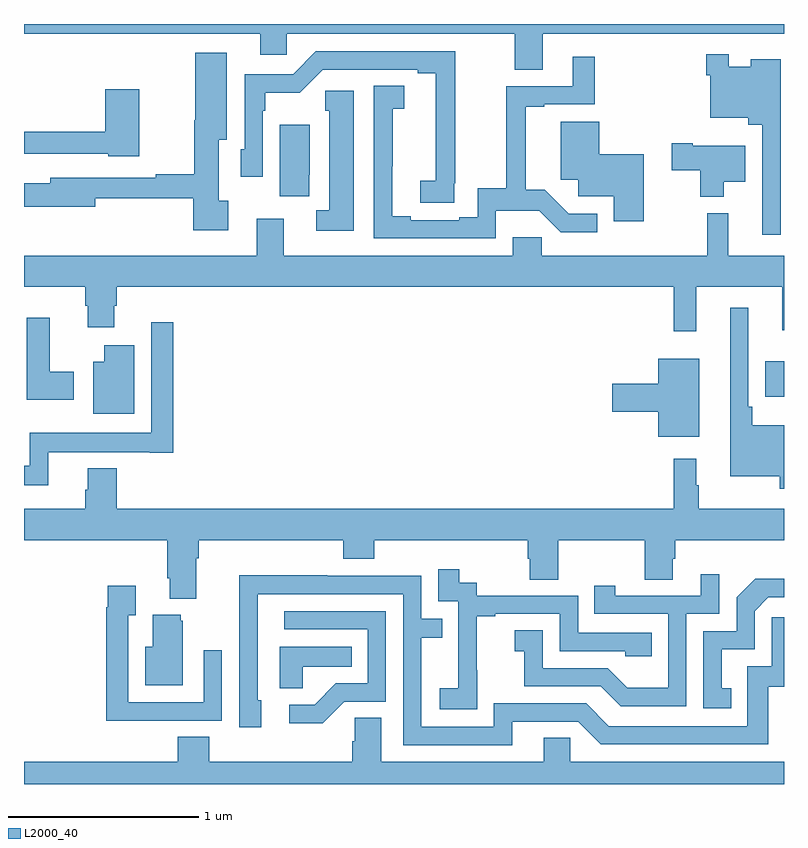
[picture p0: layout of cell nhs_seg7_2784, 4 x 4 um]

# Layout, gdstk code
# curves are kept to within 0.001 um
import gdstk
lib = gdstk.Library(unit=1e-6, precision=1e-09)
def R(c, l, rs):  # rectangles x0, y0, x1, y1
    for r in rs: c.add(gdstk.rectangle(r[:2], r[2:], *l))
def P(c, l, *ps):  # polygons
    for p in ps: c.add(gdstk.Polygon(p, *l))
L2000_40 = (2000, 40)

nhs_seg7_2784 = lib.new_cell('nhs_seg7_2784')
R(nhs_seg7_2784, L2000_40, [(294.902,1000.037,295,1000.225)])
P(nhs_seg7_2784, L2000_40, [(293.731,1001.948),(295,1001.948),(295,1002),(291,1002),(291,1001.948),(292.244,1001.948),(292.244,1001.838),(292.383,1001.838),(292.383,1001.948),(293.584,1001.948),(293.584,1001.758),(293.731,1001.758)],
  [(293.264,1001.161),(293.27,1001.161),(293.27,1001.856),(292.536,1001.856),(292.416,1001.736),(292.161,1001.736),(292.161,1001.34),(292.14,1001.34),(292.14,1001.196),(292.257,1001.196),(292.257,1001.543),(292.27,1001.543),(292.27,1001.639),(292.451,1001.639),(292.572,1001.76),(293.072,1001.76),(293.072,1001.74),(293.168,1001.74),(293.167,1001.174),(293.085,1001.174),(293.085,1001.059),(293.264,1001.059)],
  [(292.075,1001.07),(292.024,1001.07),(292.024,1001.39),(292.066,1001.39),(292.066,1001.848),(291.902,1001.848),(291.902,1001.494),(291.895,1001.494),(291.895,1001.21),(291.694,1001.21),(291.694,1001.19),(291.137,1001.19),(291.137,1001.161),(291,1001.161),(291,1001.039),(291.376,1001.039),(291.376,1001.082),(291.89,1001.082),(291.89,1000.914),(292.075,1000.914)],
  [(294.982,1001.815),(294.824,1001.815),(294.824,1001.776),(294.708,1001.776),(294.708,1001.842),(294.592,1001.842),(294.592,1001.729),(294.612,1001.729),(294.612,1001.507),(294.812,1001.507),(294.812,1001.471),(294.885,1001.471),(294.885,1000.89),(294.982,1000.89)],
  [(293.484,1001.018),(293.713,1001.018),(293.826,1000.905),(294.016,1000.905),(294.016,1001.001),(293.868,1001.001),(293.741,1001.128),(293.642,1001.128),(293.642,1001.565),(293.737,1001.565),(293.737,1001.577),(294.005,1001.577),(294.005,1001.827),(293.888,1001.827),(293.888,1001.673),(293.539,1001.673),(293.539,1001.135),(293.388,1001.135),(293.388,1000.982),(293.291,1000.982),(293.291,1000.968),(293.035,1000.968),(293.035,1000.988),(292.939,1000.988),(292.939,1001.251),(292.941,1001.251),(292.941,1001.555),(293.002,1001.555),(293.002,1001.675),(292.842,1001.675),(292.842,1000.872),(293.484,1000.872)],
  [(291.606,1001.656),(291.428,1001.656),(291.428,1001.432),(291,1001.432),(291,1001.316),(291.444,1001.316),(291.444,1001.303),(291.606,1001.303)],
  [(292.735,1001.65),(292.585,1001.65),(292.585,1001.544),(292.607,1001.544),(292.607,1001.021),(292.539,1001.021),(292.539,1000.913),(292.735,1000.913)],
  [(294.262,1001.314),(294.028,1001.314),(294.028,1001.485),(293.825,1001.485),(293.825,1001.18),(293.916,1001.18),(293.916,1001.094),(294.104,1001.094),(294.104,1000.962),(294.262,1000.962)],
  [(292.502,1001.206),(292.504,1001.206),(292.504,1001.47),(292.346,1001.47),(292.346,1001.094),(292.502,1001.094)],
  [(294.682,1001.171),(294.796,1001.171),(294.796,1001.359),(294.52,1001.359),(294.52,1001.372),(294.408,1001.372),(294.408,1001.23),(294.56,1001.23),(294.56,1001.09),(294.682,1001.09)],
  [(294.539,1000.616),(294.992,1000.616),(294.992,1000.388),(295,1000.388),(295,1000.78),(294.707,1000.78),(294.707,1001.005),(294.597,1001.005),(294.597,1000.78),(293.725,1000.78),(293.725,1000.878),(293.573,1000.878),(293.573,1000.78),(292.366,1000.78),(292.366,1000.975),(292.226,1000.975),(292.226,1000.78),(291,1000.78),(291,1000.616),(291.323,1000.616),(291.323,1000.518),(291.335,1000.518),(291.335,1000.404),(291.475,1000.404),(291.475,1000.518),(291.488,1000.518),(291.488,1000.616),(294.421,1000.616),(294.421,1000.383),(294.539,1000.383)],
  [(295,999.889),(294.833,999.889),(294.833,999.985),(294.813,999.985),(294.813,1000.507),(294.716,1000.507),(294.716,999.62),(294.978,999.62),(294.978,999.555),(295,999.555)],
  [(291.262,1000.17),(291.136,1000.17),(291.136,1000.453),(291.014,1000.453),(291.014,1000.022),(291.262,1000.022)],
  [(291.128,999.746),(291.662,999.746),(291.662,999.744),(291.785,999.744),(291.785,1000.429),(291.669,1000.429),(291.669,999.85),(291.03,999.85),(291.03,999.676),(291,999.676),(291,999.572),(291.128,999.572)],
  [(291.58,1000.309),(291.422,1000.309),(291.422,1000.222),(291.365,1000.222),(291.365,999.95),(291.58,999.95)],
  [(294.553,1000.237),(294.338,1000.237),(294.338,1000.106),(294.096,1000.106),(294.096,999.959),(294.338,999.959),(294.338,999.827),(294.553,999.827)],
  [(291.907,999.188),(291.92,999.188),(291.92,999.284),(292.679,999.284),(292.679,999.185),(292.844,999.185),(292.844,999.284),(293.651,999.284),(293.651,999.186),(293.663,999.186),(293.663,999.076),(293.811,999.076),(293.811,999.284),(294.268,999.284),(294.268,999.076),(294.415,999.076),(294.415,999.186),(294.428,999.186),(294.428,999.284),(295,999.284),(295,999.448),(294.55,999.448),(294.55,999.572),(294.538,999.572),(294.538,999.712),(294.421,999.712),(294.421,999.448),(291.488,999.448),(291.488,999.661),(291.335,999.661),(291.335,999.549),(291.323,999.549),(291.323,999.448),(291,999.448),(291,999.284),(291.755,999.284),(291.755,999.082),(291.767,999.082),(291.767,998.975),(291.907,998.975)],
  [(293.385,998.599),(293.384,998.599),(293.384,998.883),(293.479,998.883),(293.479,998.895),(293.82,998.895),(293.82,998.7),(294.165,998.7),(294.165,998.673),(294.305,998.673),(294.305,998.796),(293.916,998.796),(293.916,998.991),(293.382,998.991),(293.382,999.06),(293.29,999.06),(293.29,999.13),(293.181,999.13),(293.181,998.961),(293.286,998.961),(293.286,998.732),(293.285,998.732),(293.285,998.503),(293.187,998.503),(293.187,998.393),(293.385,998.393)],
  [(294.486,998.895),(294.66,998.895),(294.66,999.103),(294.563,999.103),(294.563,998.991),(294.112,998.991),(294.112,999.043),(294.001,999.043),(294.001,998.895),(294.39,998.895),(294.39,998.506),(294.176,998.506),(294.072,998.61),(293.73,998.61),(293.73,998.809),(293.583,998.809),(293.583,998.699),(293.632,998.699),(293.632,998.514),(294.035,998.514),(294.14,998.409),(294.486,998.409)],
  [(293.569,998.328),(293.916,998.328),(294.036,998.208),(294.916,998.208),(294.916,998.511),(295,998.511),(295,998.878),(294.936,998.878),(294.936,998.619),(294.807,998.619),(294.807,998.304),(294.078,998.304),(293.958,998.424),(293.472,998.424),(293.472,998.301),(293.091,998.301),(293.091,998.77),(293.201,998.77),(293.201,998.871),(293.091,998.871),(293.091,999.096),(292.595,999.096),(292.595,999.098),(292.132,999.098),(292.132,998.791),(292.134,998.791),(292.134,998.298),(292.249,998.298),(292.249,998.442),(292.23,998.442),(292.23,999),(292.995,999),(292.995,998.205),(293.569,998.205)],
  [(294.722,998.505),(294.673,998.505),(294.673,998.709),(294.846,998.709),(294.846,998.91),(294.918,998.982),(295,998.982),(295,999.08),(294.848,999.08),(294.75,998.982),(294.75,998.805),(294.576,998.805),(294.576,998.4),(294.722,998.4)],
  [(291.725,998.334),(292.041,998.334),(292.041,998.704),(291.945,998.704),(291.945,998.43),(291.549,998.43),(291.549,998.887),(291.589,998.887),(291.589,999.043),(291.441,999.043),(291.441,998.93),(291.433,998.93),(291.433,998.333),(291.725,998.333)],
  [(292.686,998.433),(292.905,998.433),(292.905,998.91),(292.371,998.91),(292.371,998.814),(292.809,998.814),(292.809,998.529),(292.64,998.529),(292.529,998.418),(292.395,998.418),(292.395,998.321),(292.573,998.321)],
  [(291.835,998.859),(291.824,998.859),(291.824,998.89),(291.677,998.89),(291.677,998.722),(291.638,998.722),(291.638,998.519),(291.835,998.519)],
  [(292.467,998.618),(292.724,998.618),(292.724,998.722),(292.346,998.722),(292.346,998.503),(292.467,998.503)],
  [(295,998.116),(293.874,998.116),(293.874,998.243),(293.735,998.243),(293.735,998.116),(292.879,998.116),(292.879,998.348),(292.74,998.348),(292.74,998.225),(292.727,998.225),(292.727,998.116),(291.974,998.116),(291.974,998.249),(291.809,998.249),(291.809,998.116),(291,998.116),(291,998),(295,998)])

lib.write_gds('nhs_seg7_2784.gds')
